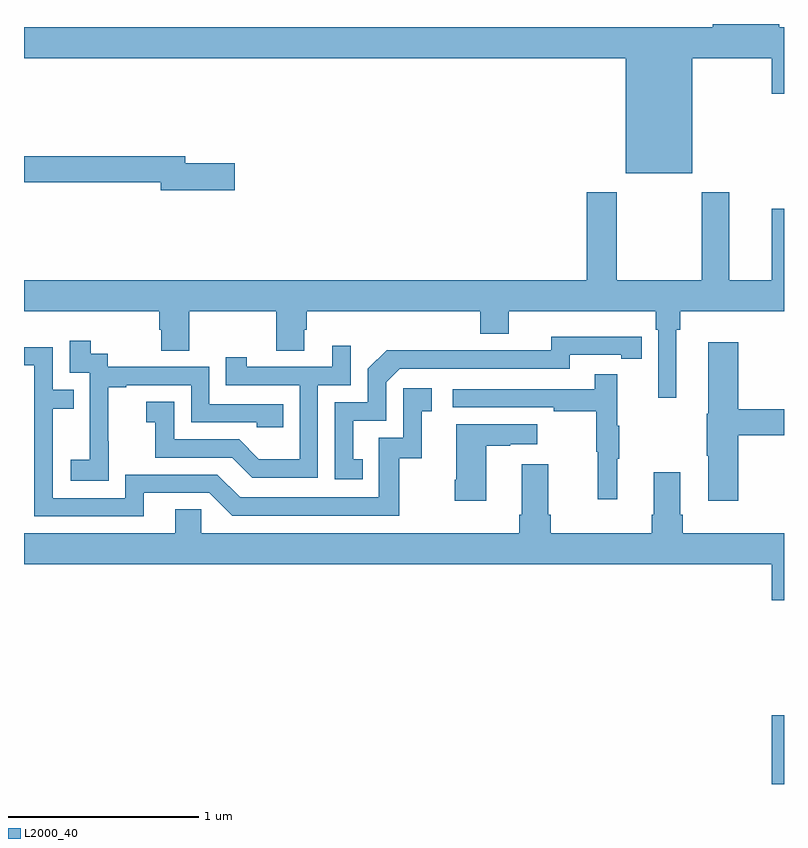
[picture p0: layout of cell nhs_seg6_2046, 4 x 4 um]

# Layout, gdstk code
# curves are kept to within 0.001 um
import gdstk
lib = gdstk.Library(unit=1e-6, precision=1e-09)
def R(c, l, rs):  # rectangles x0, y0, x1, y1
    for r in rs: c.add(gdstk.rectangle(r[:2], r[2:], *l))
def P(c, l, *ps):  # polygons
    for p in ps: c.add(gdstk.Polygon(p, *l))
L2000_40 = (2000, 40)

nhs_seg6_2046 = lib.new_cell('nhs_seg6_2046')
R(nhs_seg6_2046, L2000_40, [(236.936,959.5,237,959.863)])
P(nhs_seg6_2046, L2000_40, [(236.518,963.32),(236.936,963.32),(236.936,963.132),(237,963.132),(237,963.484),(236.974,963.484),(236.974,963.5),(236.624,963.5),(236.624,963.484),(233,963.484),(233,963.32),(236.168,963.32),(236.168,962.714),(236.518,962.714)],
  [(234.109,962.768),(233.848,962.768),(233.848,962.804),(233,962.804),(233,962.668),(233.72,962.668),(233.72,962.626),(234.109,962.626)],
  [(236.434,961.892),(236.453,961.892),(236.453,961.988),(237,961.988),(237,962.527),(236.936,962.527),(236.936,962.152),(236.713,962.152),(236.713,962.614),(236.566,962.614),(236.566,962.152),(236.121,962.152),(236.121,962.614),(235.961,962.614),(235.961,962.152),(233,962.152),(233,961.988),(233.711,961.988),(233.711,961.89),(233.723,961.89),(233.723,961.78),(233.871,961.78),(233.871,961.988),(234.328,961.988),(234.328,961.78),(234.475,961.78),(234.475,961.89),(234.488,961.89),(234.488,961.988),(235.4,961.988),(235.4,961.871),(235.552,961.871),(235.552,961.988),(236.324,961.988),(236.324,961.892),(236.337,961.892),(236.337,961.533),(236.434,961.533)],
  [(234.782,961.209),(234.733,961.209),(234.733,961.413),(234.906,961.413),(234.906,961.614),(234.978,961.686),(235.872,961.686),(235.872,961.758),(236.144,961.758),(236.144,961.738),(236.252,961.738),(236.252,961.854),(235.776,961.855),(235.776,961.782),(235.316,961.782),(235.316,961.784),(234.908,961.784),(234.81,961.686),(234.81,961.509),(234.636,961.509),(234.636,961.104),(234.782,961.104)],
  [(233.445,961.303),(233.444,961.303),(233.444,961.587),(233.539,961.587),(233.539,961.599),(233.88,961.599),(233.88,961.404),(234.225,961.404),(234.225,961.377),(234.365,961.377),(234.365,961.5),(233.976,961.5),(233.976,961.695),(233.442,961.695),(233.442,961.764),(233.35,961.764),(233.35,961.834),(233.241,961.834),(233.241,961.665),(233.346,961.665),(233.346,961.436),(233.345,961.436),(233.345,961.207),(233.247,961.207),(233.247,961.097),(233.445,961.097)],
  [(236.759,961.336),(237,961.336),(237,961.472),(236.759,961.472),(236.759,961.825),(236.6,961.825),(236.6,961.449),(236.593,961.449),(236.593,961.228),(236.6,961.228),(236.6,960.99),(236.759,960.99)],
  [(234.546,961.599),(234.72,961.599),(234.72,961.807),(234.623,961.807),(234.623,961.695),(234.172,961.695),(234.172,961.747),(234.061,961.747),(234.061,961.599),(234.45,961.599),(234.45,961.21),(234.236,961.21),(234.132,961.314),(233.79,961.314),(233.79,961.513),(233.643,961.513),(233.643,961.403),(233.692,961.403),(233.692,961.218),(234.095,961.218),(234.2,961.113),(234.546,961.113)],
  [(233.629,961.032),(233.976,961.032),(234.096,960.912),(234.976,960.912),(234.976,961.215),(235.094,961.215),(235.094,961.461),(235.147,961.461),(235.147,961.582),(234.996,961.582),(234.996,961.323),(234.867,961.323),(234.867,961.008),(234.138,961.008),(234.018,961.128),(233.532,961.128),(233.532,961.005),(233.151,961.005),(233.151,961.474),(233.261,961.474),(233.261,961.575),(233.151,961.575),(233.151,961.8),(233,961.8),(233,961.704),(233.055,961.704),(233.055,960.909),(233.629,960.909)],
  [(236.123,961.211),(236.134,961.211),(236.134,961.385),(236.123,961.385),(236.123,961.657),(236.005,961.657),(236.005,961.578),(235.257,961.578),(235.257,961.482),(235.789,961.482),(235.789,961.462),(236.013,961.462),(236.013,961.248),(236.02,961.248),(236.02,960.999),(236.123,960.999)],
  [(235.432,961.279),(235.559,961.279),(235.559,961.289),(235.702,961.289),(235.702,961.393),(235.274,961.393),(235.274,961.102),(235.267,961.102),(235.267,960.99),(235.432,960.99)],
  [(237,960.82),(236.468,960.82),(236.468,960.916),(236.455,960.916),(236.455,961.141),(236.315,961.141),(236.315,960.916),(236.303,960.916),(236.303,960.82),(235.772,960.82),(235.772,960.916),(235.759,960.916),(235.759,961.183),(235.619,961.183),(235.619,960.916),(235.607,960.916),(235.607,960.82),(233.934,960.82),(233.934,960.947),(233.795,960.947),(233.795,960.82),(233,960.82),(233,960.656),(236.936,960.656),(236.936,960.468),(237,960.468)])

lib.write_gds('nhs_seg6_2046.gds')
